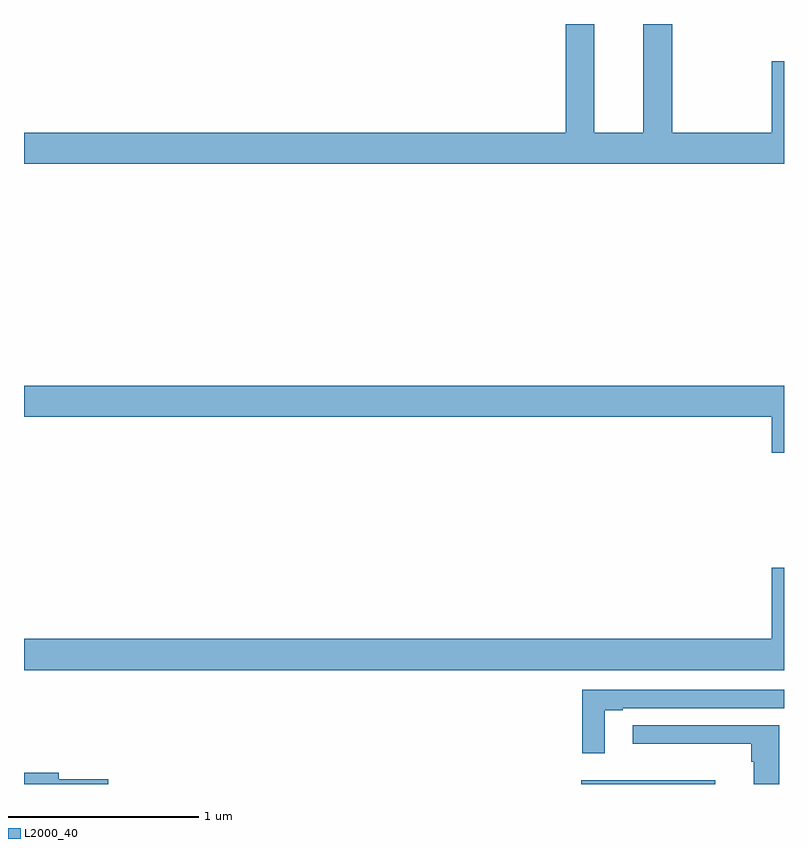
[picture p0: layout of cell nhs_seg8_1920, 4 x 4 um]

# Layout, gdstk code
import gdstk
lib = gdstk.Library(unit=1e-6, precision=1e-09)
def R(c, l, rs):  # rectangles x0, y0, x1, y1
    for r in rs: c.add(gdstk.rectangle(r[:2], r[2:], *l))
def P(c, l, *ps):  # polygons
    for p in ps: c.add(gdstk.Polygon(p, *l))
L2000_40 = (2000, 40)

nhs_seg8_1920 = lib.new_cell('nhs_seg8_1920')
R(nhs_seg8_1920, L2000_40, [(235.934,1115.9,236.638,1115.92)])
P(nhs_seg8_1920, L2000_40, [(237,1119.703),(236.936,1119.703),(236.936,1119.328),(236.411,1119.328),(236.411,1119.9),(236.258,1119.9),(236.258,1119.328),(236.002,1119.328),(236.002,1119.9),(235.85,1119.9),(235.85,1119.328),(233,1119.328),(233,1119.164),(237,1119.164)],
  [(237,1117.996),(233,1117.996),(233,1117.832),(236.936,1117.832),(236.936,1117.644),(237,1117.644)],
  [(237,1117.039),(236.936,1117.039),(236.936,1116.664),(233,1116.664),(233,1116.5),(237,1116.5)],
  [(236.056,1116.288),(236.152,1116.288),(236.152,1116.3),(237,1116.3),(237,1116.396),(235.939,1116.396),(235.939,1116.063),(236.056,1116.063)],
  [(236.974,1116.21),(236.205,1116.21),(236.205,1116.113),(236.828,1116.113),(236.828,1116.017),(236.84,1116.017),(236.84,1115.9),(236.974,1115.9)],
  [(233.443,1115.924),(233.182,1115.924),(233.182,1115.96),(233,1115.96),(233,1115.9),(233.443,1115.9)])

lib.write_gds('nhs_seg8_1920.gds')
